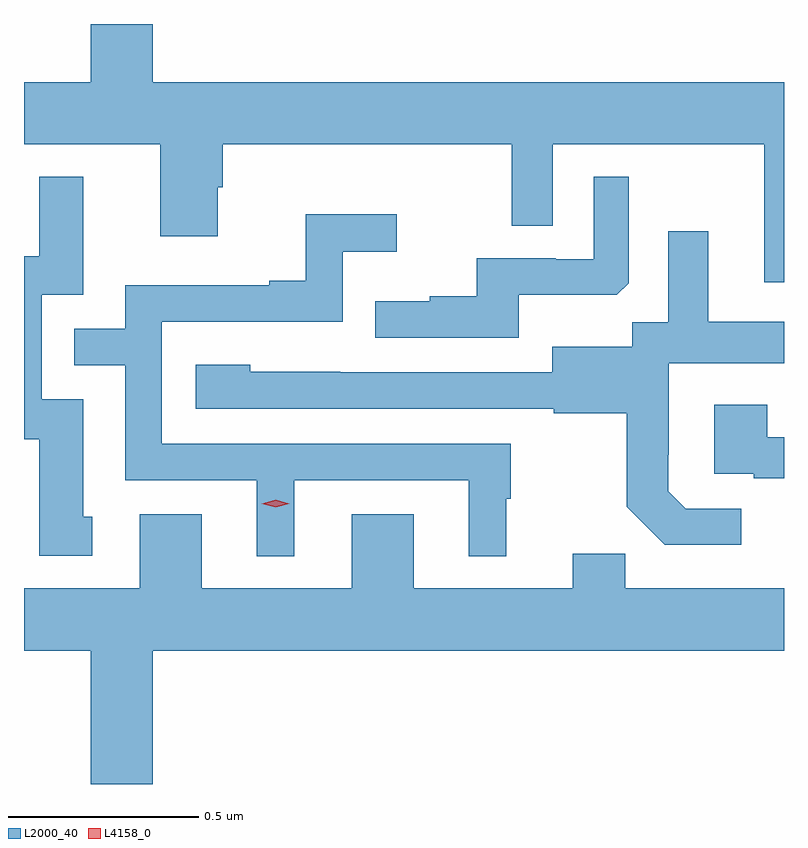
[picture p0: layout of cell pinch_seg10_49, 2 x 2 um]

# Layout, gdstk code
import gdstk
lib = gdstk.Library(unit=1e-6, precision=1e-09)
def P(c, l, *ps):  # polygons
    for p in ps: c.add(gdstk.Polygon(p, *l))
L2000_40 = (2000, 40)
L4158_0 = (4158, 0)

pinch_seg10_49 = lib.new_cell('pinch_seg10_49')
P(pinch_seg10_49, L2000_40, [(874.125,1296.484),(872.464,1296.484),(872.464,1296.637),(872.3,1296.637),(872.3,1296.484),(872.125,1296.484),(872.125,1296.32),(872.483,1296.32),(872.483,1296.078),(872.635,1296.078),(872.635,1296.207),(872.648,1296.207),(872.648,1296.32),(873.408,1296.32),(873.408,1296.106),(873.516,1296.106),(873.516,1296.32),(874.073,1296.32),(874.073,1295.958),(874.125,1295.958)],
  [(873.427,1295.924),(873.685,1295.924),(873.717,1295.955),(873.717,1296.235),(873.624,1296.235),(873.624,1296.018),(873.524,1296.018),(873.524,1296.021),(873.317,1296.021),(873.317,1295.92),(873.193,1295.92),(873.193,1295.908),(873.049,1295.908),(873.049,1295.811),(873.427,1295.811)],
  [(872.305,1295.34),(872.281,1295.34),(872.281,1295.649),(872.172,1295.649),(872.172,1295.925),(872.281,1295.925),(872.281,1296.235),(872.165,1296.235),(872.165,1296.026),(872.125,1296.026),(872.125,1295.544),(872.165,1295.544),(872.165,1295.238),(872.305,1295.238)],
  [(872.836,1295.436),(873.296,1295.436),(873.296,1295.237),(873.394,1295.237),(873.394,1295.388),(873.406,1295.388),(873.406,1295.532),(872.487,1295.532),(872.487,1295.853),(872.964,1295.853),(872.964,1296.038),(873.106,1296.038),(873.106,1296.137),(872.866,1296.137),(872.866,1295.962),(872.771,1295.962),(872.771,1295.949),(872.391,1295.949),(872.391,1295.835),(872.257,1295.835),(872.257,1295.739),(872.391,1295.739),(872.391,1295.436),(872.738,1295.436),(872.738,1295.237),(872.836,1295.237)],
  [(874.012,1295.361),(873.867,1295.361),(873.82,1295.408),(873.82,1295.503),(873.822,1295.503),(873.822,1295.744),(874.125,1295.744),(874.125,1295.854),(873.925,1295.854),(873.925,1296.091),(873.821,1296.091),(873.821,1295.852),(873.726,1295.852),(873.726,1295.788),(873.515,1295.788),(873.515,1295.721),(872.957,1295.721),(872.957,1295.722),(872.721,1295.722),(872.721,1295.74),(872.577,1295.74),(872.577,1295.625),(873.519,1295.625),(873.519,1295.613),(873.711,1295.613),(873.711,1295.367),(873.811,1295.267),(874.012,1295.267)],
  [(874.125,1295.55),(874.081,1295.55),(874.081,1295.635),(873.941,1295.635),(873.941,1295.454),(874.045,1295.454),(874.045,1295.442),(874.125,1295.442)],
  [(872.464,1294.988),(874.125,1294.988),(874.125,1295.152),(873.707,1295.152),(873.707,1295.243),(873.569,1295.243),(873.569,1295.152),(873.151,1295.152),(873.151,1295.347),(872.987,1295.347),(872.987,1295.152),(872.593,1295.152),(872.593,1295.347),(872.429,1295.347),(872.429,1295.152),(872.125,1295.152),(872.125,1294.988),(872.3,1294.988),(872.3,1294.637),(872.464,1294.637)])
P(pinch_seg10_49, L4158_0, [(872.787,1295.365),(872.751,1295.375),(872.751,1295.375),(872.751,1295.375),(872.787,1295.385),(872.823,1295.375),(872.823,1295.375),(872.823,1295.375)])

lib.write_gds('pinch_seg10_49.gds')
